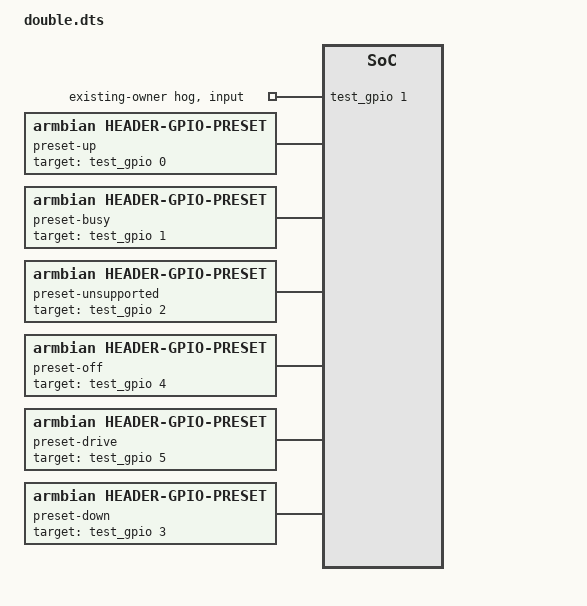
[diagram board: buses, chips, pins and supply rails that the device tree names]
/dts-v1/; /plugin/;
&{/} {
    test_gpio: header-gpio-double {
        compatible = "test,header-gpio-double";
        gpio-controller;
        #gpio-cells = <2>;
        reserved-pin { gpio-hog; gpios = <1 0>; input; line-name = "existing-owner"; };
    };
    preset-up { compatible = "armbian,header-gpio-preset"; target-gpios = <&test_gpio 0 0>; bias-pull-up; drive-strength = <20>; };
    preset-busy { compatible = "armbian,header-gpio-preset"; target-gpios = <&test_gpio 1 0>; bias-disable; };
    preset-unsupported { compatible = "armbian,header-gpio-preset"; target-gpios = <&test_gpio 2 0>; drive-strength = <30>; };
    preset-off { compatible = "armbian,header-gpio-preset"; target-gpios = <&test_gpio 4 0>; bias-disable; };
    preset-drive { compatible = "armbian,header-gpio-preset"; target-gpios = <&test_gpio 5 0>; drive-strength = <40>; };
    preset-down { compatible = "armbian,header-gpio-preset"; target-gpios = <&test_gpio 3 0>; bias-pull-down; };
};
